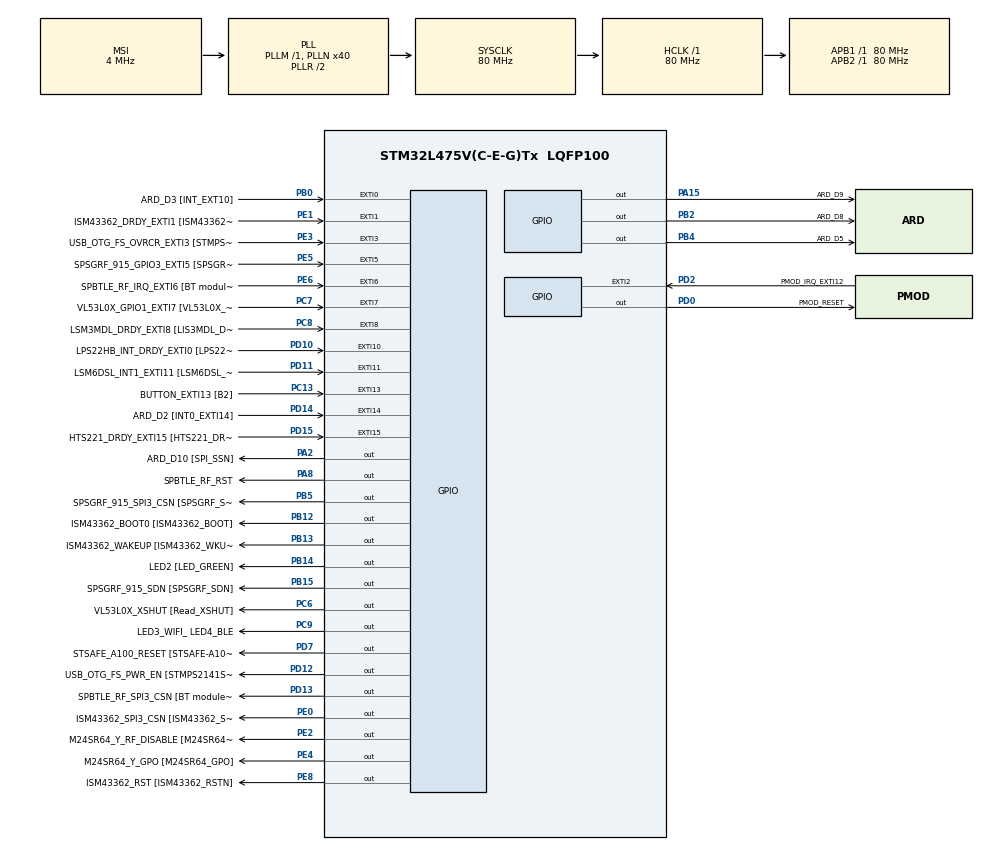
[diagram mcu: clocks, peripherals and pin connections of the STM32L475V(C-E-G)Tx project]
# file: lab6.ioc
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FREERTOS.Tasks01=ContinuousT1,0,128,ContinuousTFunc,Default,(void*)pcTextForThread1,Dynamic,NULL,NULL;ContinuousT2,0,128,ContinuousTFunc,Default,(void*)pcTextForThread2,Dynamic,NULL,NULL;PeriodT,1,128,PeriodTFunc,Default,(void *)pcTextForThread3,Dynamic,NULL,NULL
Mcu.Family=STM32L4
Mcu.Name=STM32L475V(C-E-G)Tx
Mcu.Package=LQFP100
Mcu.UserConstants=pcTextForThread1,"\\n\\rContinuous Thread1 is running\\n\\r";pcTextForThread2,"\\n\\rContinuous Thread2 is running\\n\\r";pcTextForThread3,"\\n\\rPeriod Thread is running\\n\\r";mainDELAY_LOOP_COUNT,0xffffff
NVIC.EXTI15_10_IRQn=true\:5\:0\:false\:false\:true\:true\:true\:true
NVIC.EXTI9_5_IRQn=true\:5\:0\:false\:false\:true\:true\:true\:true
NVIC.PriorityGroup=NVIC_PRIORITYGROUP_4
PA0.GPIO_Label=ARD_D1 [UART4_TX]
PA0.Signal=UART4_TX
PA1.GPIO_Label=ARD_D0 [UART4_RX]
PA1.Signal=UART4_RX
PA10.GPIO_Label=USB_OTG_FS_ID
PA10.Signal=USB_OTG_FS_ID
PA11.GPIO_Label=USB_OTG_FS_DM
PA11.Signal=USB_OTG_FS_DM
PA12.GPIO_Label=USB_OTG_FS_DP
PA12.Signal=USB_OTG_FS_DP
PA13\ (JTMS-SWDIO).GPIO_Label=SYS_JTMS_SWDIO
PA13\ (JTMS-SWDIO).Signal=SYS_JTMS-SWDIO
PA14\ (JTCK-SWCLK).GPIO_Label=SYS_JTCK_SWCLK
PA14\ (JTCK-SWCLK).Signal=SYS_JTCK-SWCLK
PA15\ (JTDI).GPIO_Label=ARD_D9
PA15\ (JTDI).Signal=GPIO_Output
PA2.GPIO_Label=ARD_D10 [SPI_SSN]
PA2.Signal=GPIO_Output
PA3.GPIO_Label=ARD_D4
PA3.Signal=S_TIM2_CH4
PA4.GPIO_Label=ARD_D7
PA4.Signal=ADCx_IN9
PA5.GPIO_Label=ARD_D13 [SPI1_SCK]
PA5.Signal=SPI1_SCK
PA6.GPIO_Label=ARD_D12 [SPI1_MISO]
PA6.Signal=SPI1_MISO
PA7.GPIO_Label=ARD_D11 [SPI1_MOSI]
PA7.Signal=SPI1_MOSI
PA8.GPIO_Label=SPBTLE_RF_RST
PA8.Signal=GPIO_Output
PA9.GPIO_Label=USB_OTG_FS_VBUS [STMPS2141STR_OUT]
PA9.Signal=USB_OTG_FS_VBUS
PB0.GPIO_Label=ARD_D3 [INT_EXT10]
PB0.Signal=GPXTI0
PB1.GPIO_Label=ARD_D6 [ADC1_IN6]
PB1.Signal=ADCx_IN16
PB10.GPIO_Label=INTERNAL_I2C2_SCL [VL53L0X_SCL]
PB10.Signal=I2C2_SCL
PB11.GPIO_Label=INTERNAL_I2C2_SDA [VL53L0X_SDA]
PB11.Signal=I2C2_SDA
PB12.GPIO_Label=ISM43362_BOOT0 [ISM43362_BOOT]
PB12.Signal=GPIO_Output
PB13.GPIO_Label=ISM43362_WAKEUP [ISM43362_WKUP]
PB13.Signal=GPIO_Output
PB14.GPIO_Label=LED2 [LED_GREEN]
PB14.Signal=GPIO_Output
PB15.GPIO_Label=SPSGRF_915_SDN [SPSGRF_SDN]
PB15.Signal=GPIO_Output
PB2.GPIO_Label=ARD_D8
PB2.Signal=GPIO_Output
PB3\ (JTDO-TRACESWO).GPIO_Label=SYS_JTD0_SWO
PB3\ (JTDO-TRACESWO).Signal=SYS_JTDO-SWO
PB4\ (NJTRST).GPIO_Label=ARD_D5
PB4\ (NJTRST).Signal=GPIO_Output
PB5.GPIO_Label=SPSGRF_915_SPI3_CSN [SPSGRF_SPI_CS]
PB5.PinState=GPIO_PIN_SET
PB5.Signal=GPIO_Output
PB6.GPIO_Label=ST_LINK_UART1_TX
PB6.Signal=USART1_TX
PB7.GPIO_Label=ST_LINK_UART1_RX
PB7.Signal=USART1_RX
PB8.GPIO_Label=ARD_D15 [I2C1_SCL]
PB8.Signal=I2C1_SCL
PB9.GPIO_Label=ARD_D14 [I2C1_SDA]
PB9.Signal=I2C1_SDA
PC0.GPIO_Label=ARD_A5 [ADC]
PC0.Signal=ADCx_IN1
PC1.GPIO_Label=ARD_A4 [ADC]
PC1.Signal=ADCx_IN2
PC10.GPIO_Label=INTERNAL_SPI3_SCK [BT module_SPI_SCLK] [ISM43362_SCK]
PC10.Signal=SPI3_SCK
PC11.GPIO_Label=INTERNAL_SPI3_MISO [BT module_SPI_MISO] [ISM43362_MISO]
PC11.Signal=SPI3_MISO
PC12.GPIO_Label=INTERNAL_SPI3_MOSI [BT module_SPI_MOSI] [ISM43362_MOSI]
PC12.Signal=SPI3_MOSI
PC13.GPIO_Label=BUTTON_EXTI13 [B2]
PC13.GPIO_ModeDefaultEXTI=GPIO_MODE_IT_FALLING
PC13.Signal=GPXTI13
PC14-OSC32_IN\ (PC14).Signal=RCC_OSC32_IN
PC15-OSC32_OUT\ (PC15).Signal=RCC_OSC32_OUT
PC2.GPIO_Label=ARD_A3 [ADC]
PC2.Signal=ADCx_IN3
PC3.GPIO_Label=ARD_A2 [ADC]
PC3.Signal=ADCx_IN4
PC4.GPIO_Label=ARD_A1 [ADC]
PC4.Signal=ADCx_IN13
PC5.GPIO_Label=ARD_A0 [ADC]
PC5.Signal=ADCx_IN14
PC6.GPIO_Label=VL53L0X_XSHUT [Read_XSHUT]
PC6.Signal=GPIO_Output
PC7.GPIO_Label=VL53L0X_GPIO1_EXTI7 [VL53L0X_GPIO1]
PC7.Signal=GPXTI7
PC8.GPIO_Label=LSM3MDL_DRDY_EXTI8 [LIS3MDL_DRDY]
PC8.Signal=GPXTI8
PC9.GPIO_Label=LED3_WIFI_ LED4_BLE
PC9.Signal=GPIO_Output
PD0.GPIO_Label=PMOD_RESET
PD0.Signal=GPIO_Output
PD1.GPIO_Label=PMOD_SPI2_SCK
PD1.Signal=SPI2_SCK
PD10.GPIO_Label=LPS22HB_INT_DRDY_EXTI0 [LPS22HB_INT_DRDY] 
PD10.Signal=GPXTI10
PD11.GPIO_Label=LSM6DSL_INT1_EXTI11 [LSM6DSL_INT1]
PD11.Signal=GPXTI11
PD12.GPIO_Label=USB_OTG_FS_PWR_EN [STMPS2141STR_EN]
PD12.Signal=GPIO_Output
PD13.GPIO_Label=SPBTLE_RF_SPI3_CSN [BT module_SPI_CS]
PD13.PinState=GPIO_PIN_SET
PD13.Signal=GPIO_Output
PD14.GPIO_Label=ARD_D2 [INT0_EXTI14]
PD14.Signal=GPXTI14
PD15.GPIO_Label=HTS221_DRDY_EXTI15 [HTS221_DRDY]
PD15.Signal=GPXTI15
PD2.GPIO_Label=PMOD_IRQ_EXTI12
PD2.Signal=GPXTI2
PD3.GPIO_Label=PMOD_UART2_CTS
PD3.Signal=USART2_CTS
PD4.GPIO_Label=PMOD_UART2_RTS
PD4.Signal=USART2_RTS
PD5.GPIO_Label=PMOD_UART2_TX
PD5.Signal=USART2_TX
PD6.GPIO_Label=PMOD_UART2_RX
PD6.Signal=USART2_RX
PD7.GPIO_Label=STSAFE_A100_RESET [STSAFE-A100_RESET]
PD7.Signal=GPIO_Output
PD8.GPIO_Label=INTERNAL_UART3_TX [ISM43362_RX]
PD8.Signal=USART3_TX
PD9.GPIO_Label=INTERNAL_UART3_RX [ISM43362_TX]
PD9.Signal=USART3_RX
PE0.GPIO_Label=ISM43362_SPI3_CSN [ISM43362_SSN]
PE0.PinState=GPIO_PIN_SET
PE0.Signal=GPIO_Output
PE1.GPIO_Label=ISM43362_DRDY_EXTI1 [ISM43362_DATARDY]
PE1.Signal=GPXTI1
PE10.GPIO_Label=QUADSPI_CLK [MX25R6435F_SCLK]
PE10.Signal=QUADSPI_CLK
PE11.GPIO_Label=QUADSPI_NCS [MX25R6435F_SCLK]
PE11.Signal=QUADSPI_NCS
PE12.GPIO_Label=OQUADSPI_BK1_IO0 [MX25R6435F_IO0]
PE12.Signal=QUADSPI_BK1_IO0
PE13.GPIO_Label=QUADSPI_BK1_IO1 [MX25R6435F_IO1]
PE13.Signal=QUADSPI_BK1_IO1
PE14.GPIO_Label=QUAD_SPI_BK1_IO2 [MX25R6435F_IO2]
PE14.Signal=QUADSPI_BK1_IO2
PE15.GPIO_Label=QUAD_SPI_BK1_IO3 [MX25R6435F_IO3]
PE15.Signal=QUADSPI_BK1_IO3
PE2.GPIO_Label=M24SR64_Y_RF_DISABLE [M24SR64_RFDIS]
PE2.Signal=GPIO_Output
PE3.GPIO_Label=USB_OTG_FS_OVRCR_EXTI3 [STMPS2141STR_FAULT]
PE3.Signal=GPXTI3
PE4.GPIO_Label=M24SR64_Y_GPO [M24SR64_GPO]
PE4.Signal=GPIO_Output
PE5.GPIO_Label=SPSGRF_915_GPIO3_EXTI5 [SPSGRF_GPIO_3]
PE5.Signal=GPXTI5
PE6.GPIO_Label=SPBTLE_RF_IRQ_EXTI6 [BT module_SPI_IRQ]
PE6.Signal=GPXTI6
PE7.GPIO_Label=DFSDM1_DATIN2 [MP34DT01_DOUT]
PE7.Signal=S_DATAIN2DFSDM1
PE8.GPIO_Label=ISM43362_RST [ISM43362_RSTN]
PE8.Signal=GPIO_Output
PE9.GPIO_Label=DFSDM1_CKOUT [MP34DT01_CLK]
PE9.Signal=S_CKOUTDFSDM1
ProjectManager.HeapSize=0x200
ProjectManager.StackSize=0x400
ProjectManager.TargetToolchain=MDK-ARM V5.27
RCC.ADCFreq_Value=48000000
RCC.AHBFreq_Value=80000000
RCC.APB1Freq_Value=80000000
RCC.APB1TimFreq_Value=80000000
RCC.APB2Freq_Value=80000000
RCC.APB2TimFreq_Value=80000000
RCC.CortexFreq_Value=80000000
RCC.HCLKFreq_Value=80000000
RCC.HSE_VALUE=8000000
RCC.HSI_VALUE=16000000
RCC.LSE_VALUE=32768
RCC.MSI_VALUE=4000000
RCC.PLLN=40
RCC.PLLSAI1N=24
RCC.SYSCLKFreq_VALUE=80000000
RCC.SYSCLKSource=RCC_SYSCLKSOURCE_PLLCLK
RCC.USBFreq_Value=48000000
RCC.VCOOutputFreq_Value=160000000
SH.ADCx_IN1.0=ADC1_IN1
SH.ADCx_IN13.0=ADC1_IN13
SH.ADCx_IN14.0=ADC1_IN14
SH.ADCx_IN16.0=ADC1_IN16
SH.ADCx_IN2.0=ADC1_IN2
SH.ADCx_IN3.0=ADC1_IN3
SH.ADCx_IN4.0=ADC1_IN4
SH.ADCx_IN9.0=ADC1_IN9
SH.S_CKOUTDFSDM1.0=DFSDM1_CKOUT
SH.S_DATAIN2DFSDM1.0=DFSDM1_DATIN2
SH.S_TIM2_CH4.0=TIM2_CH4
VP_FREERTOS_VS_CMSIS_V1.Mode=CMSIS_V1
board=B-L475E-IOT01A1

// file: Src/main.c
/* USER CODE BEGIN Header */
/**
  ******************************************************************************
  * @file           : main.c
  * @brief          : Main program body
  ******************************************************************************
  * @attention
  *
  * <h2><center>&copy; Copyright (c) 2020 STMicroelectronics.
  * All rights reserved.</center></h2>
  *
  * This software component is licensed by ST under Ultimate Liberty license
  * SLA0044, the "License"; You may not use this file except in compliance with
  * the License. You may obtain a copy of the License at:
  *                             www.st.com/SLA0044
  *
  ******************************************************************************
  */
/* USER CODE END Header */

#include "main.h"
#include "cmsis_os.h"

/* USER CODE BEGIN Includes */
#include "stdio.h"
/* USER CODE END Includes */

osThreadId ContinuousT1Handle;
osThreadId ContinuousT2Handle;
osThreadId PeriodTHandle;

void SystemClock_Config(void);
static void MX_GPIO_Init(void);
void ContinuousTFunc(void const * argument);
void PeriodTFunc(void const * argument);

/* USER CODE BEGIN PFP */
#ifdef __GNUC__
#define PUTCHAR_PROTOTYPE int __io_putchar(int ch)
#else
#define PUTCHAR_PROTOTYPE int fputc(int ch, FILE *f)
#endif /* __GNUC__ */
/* USER CODE END PFP */

/* USER CODE BEGIN 0 */
PUTCHAR_PROTOTYPE
{
  /* e.g. write a character to the USART1 and Loop until the end of transmission */
  HAL_UART_Transmit(&huart1, (uint8_t *)&ch, 1, 0xFFFF);

  return ch;
}
/* USER CODE END 0 */

int main(void)
{

  /* MCU Configuration--------------------------------------------------------*/

  /* Reset of all peripherals, Initializes the Flash interface and the Systick. */
  HAL_Init();

  /* Configure the system clock */
  SystemClock_Config();

  /* Initialize all configured peripherals */
  MX_GPIO_Init();
  /* USER CODE BEGIN 2 */
	printf("\n\rFreeRTOS Lab 6\n\r");
  /* USER CODE END 2 */

  /* Create the thread(s) */
  /* definition and creation of ContinuousT1 */
  osThreadDef(ContinuousT1, ContinuousTFunc, osPriorityNormal, 0, 128);
  ContinuousT1Handle = osThreadCreate(osThread(ContinuousT1), (void*)pcTextForThread1);

  /* definition and creation of ContinuousT2 */
  osThreadDef(ContinuousT2, ContinuousTFunc, osPriorityNormal, 0, 128);
  ContinuousT2Handle = osThreadCreate(osThread(ContinuousT2), (void*)pcTextForThread2);

  /* definition and creation of PeriodT */
  osThreadDef(PeriodT, PeriodTFunc, osPriorityAboveNormal, 0, 128);
  PeriodTHandle = osThreadCreate(osThread(PeriodT), (void *)pcTextForThread3);

  /* Start scheduler */
  osKernelStart();

  /* We should never get here as control is now taken by the scheduler */

  /* Infinite loop */
  while (1)
  {

  }
}

void SystemClock_Config(void)
{
  RCC_OscInitTypeDef RCC_OscInitStruct = {0};
  RCC_ClkInitTypeDef RCC_ClkInitStruct = {0};

  /** Initializes the CPU, AHB and APB busses clocks
  */
  RCC_OscInitStruct.OscillatorType = RCC_OSCILLATORTYPE_MSI;
  RCC_OscInitStruct.MSIState = RCC_MSI_ON;
  RCC_OscInitStruct.MSICalibrationValue = 0;
  RCC_OscInitStruct.MSIClockRange = RCC_MSIRANGE_6;
  RCC_OscInitStruct.PLL.PLLState = RCC_PLL_ON;
  RCC_OscInitStruct.PLL.PLLSource = RCC_PLLSOURCE_MSI;
  RCC_OscInitStruct.PLL.PLLM = 1;
  RCC_OscInitStruct.PLL.PLLN = 40;
  RCC_OscInitStruct.PLL.PLLP = RCC_PLLP_DIV7;
  RCC_OscInitStruct.PLL.PLLQ = RCC_PLLQ_DIV2;
  RCC_OscInitStruct.PLL.PLLR = RCC_PLLR_DIV2;
  if (HAL_RCC_OscConfig(&RCC_OscInitStruct) != HAL_OK)
  {
    Error_Handler();
  }
  /** Initializes the CPU, AHB and APB busses clocks
  */
  RCC_ClkInitStruct.ClockType = RCC_CLOCKTYPE_HCLK|RCC_CLOCKTYPE_SYSCLK
                              |RCC_CLOCKTYPE_PCLK1|RCC_CLOCKTYPE_PCLK2;
  RCC_ClkInitStruct.SYSCLKSource = RCC_SYSCLKSOURCE_PLLCLK;
  RCC_ClkInitStruct.AHBCLKDivider = RCC_SYSCLK_DIV1;
  RCC_ClkInitStruct.APB1CLKDivider = RCC_HCLK_DIV1;
  RCC_ClkInitStruct.APB2CLKDivider = RCC_HCLK_DIV1;

  if (HAL_RCC_ClockConfig(&RCC_ClkInitStruct, FLASH_LATENCY_4) != HAL_OK)
  {
    Error_Handler();
  }
  /** Configure the main internal regulator output voltage
  */
  if (HAL_PWREx_ControlVoltageScaling(PWR_REGULATOR_VOLTAGE_SCALE1) != HAL_OK)
  {
    Error_Handler();
  }
}

static void MX_GPIO_Init(void)
{
  GPIO_InitTypeDef GPIO_InitStruct = {0};

  /* GPIO Ports Clock Enable */
  __HAL_RCC_GPIOE_CLK_ENABLE();
  __HAL_RCC_GPIOC_CLK_ENABLE();
  __HAL_RCC_GPIOH_CLK_ENABLE();
  __HAL_RCC_GPIOA_CLK_ENABLE();
  __HAL_RCC_GPIOB_CLK_ENABLE();
  __HAL_RCC_GPIOD_CLK_ENABLE();

  /*Configure GPIO pin Output Level */
  HAL_GPIO_WritePin(GPIOE, M24SR64_Y_RF_DISABLE_Pin|M24SR64_Y_GPO_Pin|ISM43362_RST_Pin, GPIO_PIN_RESET);

  /*Configure GPIO pin Output Level */
  HAL_GPIO_WritePin(GPIOA, ARD_D10_Pin|SPBTLE_RF_RST_Pin|ARD_D9_Pin, GPIO_PIN_RESET);

  /*Configure GPIO pin Output Level */
  HAL_GPIO_WritePin(GPIOB, ARD_D8_Pin|ISM43362_BOOT0_Pin|ISM43362_WAKEUP_Pin|LED2_Pin
                          |SPSGRF_915_SDN_Pin|ARD_D5_Pin, GPIO_PIN_RESET);

  /*Configure GPIO pin Output Level */
  HAL_GPIO_WritePin(GPIOD, USB_OTG_FS_PWR_EN_Pin|PMOD_RESET_Pin|STSAFE_A100_RESET_Pin, GPIO_PIN_RESET);

  /*Configure GPIO pin Output Level */
  HAL_GPIO_WritePin(SPBTLE_RF_SPI3_CSN_GPIO_Port, SPBTLE_RF_SPI3_CSN_Pin, GPIO_PIN_SET);

  /*Configure GPIO pin Output Level */
  HAL_GPIO_WritePin(GPIOC, VL53L0X_XSHUT_Pin|LED3_WIFI__LED4_BLE_Pin, GPIO_PIN_RESET);

  /*Configure GPIO pin Output Level */
  HAL_GPIO_WritePin(SPSGRF_915_SPI3_CSN_GPIO_Port, SPSGRF_915_SPI3_CSN_Pin, GPIO_PIN_SET);

  /*Configure GPIO pin Output Level */
  HAL_GPIO_WritePin(ISM43362_SPI3_CSN_GPIO_Port, ISM43362_SPI3_CSN_Pin, GPIO_PIN_SET);

  /*Configure GPIO pins : M24SR64_Y_RF_DISABLE_Pin M24SR64_Y_GPO_Pin ISM43362_RST_Pin ISM43362_SPI3_CSN_Pin */
  GPIO_InitStruct.Pin = M24SR64_Y_RF_DISABLE_Pin|M24SR64_Y_GPO_Pin|ISM43362_RST_Pin|ISM43362_SPI3_CSN_Pin;
  GPIO_InitStruct.Mode = GPIO_MODE_OUTPUT_PP;
  GPIO_InitStruct.Pull = GPIO_NOPULL;
  GPIO_InitStruct.Speed = GPIO_SPEED_FREQ_LOW;
  HAL_GPIO_Init(GPIOE, &GPIO_InitStruct);

  /*Configure GPIO pins : USB_OTG_FS_OVRCR_EXTI3_Pin SPSGRF_915_GPIO3_EXTI5_Pin SPBTLE_RF_IRQ_EXTI6_Pin ISM43362_DRDY_EXTI1_Pin */
  GPIO_InitStruct.Pin = USB_OTG_FS_OVRCR_EXTI3_Pin|SPSGRF_915_GPIO3_EXTI5_Pin|SPBTLE_RF_IRQ_EXTI6_Pin|ISM43362_DRDY_EXTI1_Pin;
  GPIO_InitStruct.Mode = GPIO_MODE_IT_RISING;
  GPIO_InitStruct.Pull = GPIO_NOPULL;
  HAL_GPIO_Init(GPIOE, &GPIO_InitStruct);

  /*Configure GPIO pin : BUTTON_EXTI13_Pin */
  GPIO_InitStruct.Pin = BUTTON_EXTI13_Pin;
  GPIO_InitStruct.Mode = GPIO_MODE_IT_FALLING;
  GPIO_InitStruct.Pull = GPIO_NOPULL;
  HAL_GPIO_Init(BUTTON_EXTI13_GPIO_Port, &GPIO_InitStruct);

  /*Configure GPIO pins : PH0 PH1 */
  GPIO_InitStruct.Pin = GPIO_PIN_0|GPIO_PIN_1;
  GPIO_InitStruct.Mode = GPIO_MODE_ANALOG;
  GPIO_InitStruct.Pull = GPIO_NOPULL;
  HAL_GPIO_Init(GPIOH, &GPIO_InitStruct);

  /*Configure GPIO pins : ARD_A5_Pin ARD_A4_Pin ARD_A3_Pin ARD_A2_Pin
                           ARD_A1_Pin ARD_A0_Pin */
  GPIO_InitStruct.Pin = ARD_A5_Pin|ARD_A4_Pin|ARD_A3_Pin|ARD_A2_Pin
                          |ARD_A1_Pin|ARD_A0_Pin;
  GPIO_InitStruct.Mode = GPIO_MODE_ANALOG_ADC_CONTROL;
  GPIO_InitStruct.Pull = GPIO_NOPULL;
  HAL_GPIO_Init(GPIOC, &GPIO_InitStruct);

  /*Configure GPIO pins : ARD_D1_Pin ARD_D0_Pin */
  GPIO_InitStruct.Pin = ARD_D1_Pin|ARD_D0_Pin;
  GPIO_InitStruct.Mode = GPIO_MODE_AF_PP;
  GPIO_InitStruct.Pull = GPIO_NOPULL;
  GPIO_InitStruct.Speed = GPIO_SPEED_FREQ_VERY_HIGH;
  GPIO_InitStruct.Alternate = GPIO_AF8_UART4;
  HAL_GPIO_Init(GPIOA, &GPIO_InitStruct);

  /*Configure GPIO pins : ARD_D10_Pin SPBTLE_RF_RST_Pin ARD_D9_Pin */
  GPIO_InitStruct.Pin = ARD_D10_Pin|SPBTLE_RF_RST_Pin|ARD_D9_Pin;
  GPIO_InitStruct.Mode = GPIO_MODE_OUTPUT_PP;
  GPIO_InitStruct.Pull = GPIO_NOPULL;
  GPIO_InitStruct.Speed = GPIO_SPEED_FREQ_LOW;
  HAL_GPIO_Init(GPIOA, &GPIO_InitStruct);

  /*Configure GPIO pin : ARD_D4_Pin */
  GPIO_InitStruct.Pin = ARD_D4_Pin;
  GPIO_InitStruct.Mode = GPIO_MODE_AF_PP;
  GPIO_InitStruct.Pull = GPIO_NOPULL;
  GPIO_InitStruct.Speed = GPIO_SPEED_FREQ_LOW;
  GPIO_InitStruct.Alternate = GPIO_AF1_TIM2;
  HAL_GPIO_Init(ARD_D4_GPIO_Port, &GPIO_InitStruct);

  /*Configure GPIO pin : ARD_D7_Pin */
  GPIO_InitStruct.Pin = ARD_D7_Pin;
  GPIO_InitStruct.Mode = GPIO_MODE_ANALOG_ADC_CONTROL;
  GPIO_InitStruct.Pull = GPIO_NOPULL;
  HAL_GPIO_Init(ARD_D7_GPIO_Port, &GPIO_InitStruct);

  /*Configure GPIO pins : ARD_D13_Pin ARD_D12_Pin ARD_D11_Pin */
  GPIO_InitStruct.Pin = ARD_D13_Pin|ARD_D12_Pin|ARD_D11_Pin;
  GPIO_InitStruct.Mode = GPIO_MODE_AF_PP;
  GPIO_InitStruct.Pull = GPIO_NOPULL;
  GPIO_InitStruct.Speed = GPIO_SPEED_FREQ_VERY_HIGH;
  GPIO_InitStruct.Alternate = GPIO_AF5_SPI1;
  HAL_GPIO_Init(GPIOA, &GPIO_InitStruct);

  /*Configure GPIO pin : ARD_D3_Pin */
  GPIO_InitStruct.Pin = ARD_D3_Pin;
  GPIO_InitStruct.Mode = GPIO_MODE_IT_RISING;
  GPIO_InitStruct.Pull = GPIO_NOPULL;
  HAL_GPIO_Init(ARD_D3_GPIO_Port, &GPIO_InitStruct);

  /*Configure GPIO pin : ARD_D6_Pin */
  GPIO_InitStruct.Pin = ARD_D6_Pin;
  GPIO_InitStruct.Mode = GPIO_MODE_ANALOG_ADC_CONTROL;
  GPIO_InitStruct.Pull = GPIO_NOPULL;
  HAL_GPIO_Init(ARD_D6_GPIO_Port, &GPIO_InitStruct);

  /*Configure GPIO pins : ARD_D8_Pin ISM43362_BOOT0_Pin ISM43362_WAKEUP_Pin LED2_Pin
                           SPSGRF_915_SDN_Pin ARD_D5_Pin SPSGRF_915_SPI3_CSN_Pin */
  GPIO_InitStruct.Pin = ARD_D8_Pin|ISM43362_BOOT0_Pin|ISM43362_WAKEUP_Pin|LED2_Pin
                          |SPSGRF_915_SDN_Pin|ARD_D5_Pin|SPSGRF_915_SPI3_CSN_Pin;
  GPIO_InitStruct.Mode = GPIO_MODE_OUTPUT_PP;
  GPIO_InitStruct.Pull = GPIO_NOPULL;
  GPIO_InitStruct.Speed = GPIO_SPEED_FREQ_LOW;
  HAL_GPIO_Init(GPIOB, &GPIO_InitStruct);

  /*Configure GPIO pins : DFSDM1_DATIN2_Pin DFSDM1_CKOUT_Pin */
  GPIO_InitStruct.Pin = DFSDM1_DATIN2_Pin|DFSDM1_CKOUT_Pin;
  GPIO_InitStruct.Mode = GPIO_MODE_AF_PP;
  GPIO_InitStruct.Pull = GPIO_NOPULL;
  GPIO_InitStruct.Speed = GPIO_SPEED_FREQ_LOW;
  GPIO_InitStruct.Alternate = GPIO_AF6_DFSDM1;
  HAL_GPIO_Init(GPIOE, &GPIO_InitStruct);

  /*Configure GPIO pins : QUADSPI_CLK_Pin QUADSPI_NCS_Pin OQUADSPI_BK1_IO0_Pin QUADSPI_BK1_IO1_Pin
                           QUAD_SPI_BK1_IO2_Pin QUAD_SPI_BK1_IO3_Pin */
  GPIO_InitStruct.Pin = QUADSPI_CLK_Pin|QUADSPI_NCS_Pin|OQUADSPI_BK1_IO0_Pin|QUADSPI_BK1_IO1_Pin
                          |QUAD_SPI_BK1_IO2_Pin|QUAD_SPI_BK1_IO3_Pin;
  GPIO_InitStruct.Mode = GPIO_MODE_AF_PP;
  GPIO_InitStruct.Pull = GPIO_NOPULL;
  GPIO_InitStruct.Speed = GPIO_SPEED_FREQ_VERY_HIGH;
  GPIO_InitStruct.Alternate = GPIO_AF10_QUADSPI;
  HAL_GPIO_Init(GPIOE, &GPIO_InitStruct);

  /*Configure GPIO pins : INTERNAL_I2C2_SCL_Pin INTERNAL_I2C2_SDA_Pin */
  GPIO_InitStruct.Pin = INTERNAL_I2C2_SCL_Pin|INTERNAL_I2C2_SDA_Pin;
  GPIO_InitStruct.Mode = GPIO_MODE_AF_OD;
  GPIO_InitStruct.Pull = GPIO_PULLUP;
  GPIO_InitStruct.Speed = GPIO_SPEED_FREQ_VERY_HIGH;
  GPIO_InitStruct.Alternate = GPIO_AF4_I2C2;
  HAL_GPIO_Init(GPIOB, &GPIO_InitStruct);

  /*Configure GPIO pins : INTERNAL_UART3_TX_Pin INTERNAL_UART3_RX_Pin */
  GPIO_InitStruct.Pin = INTERNAL_UART3_TX_Pin|INTERNAL_UART3_RX_Pin;
  GPIO_InitStruct.Mode = GPIO_MODE_AF_PP;
  GPIO_InitStruct.Pull = GPIO_NOPULL;
  GPIO_InitStruct.Speed = GPIO_SPEED_FREQ_VERY_HIGH;
  GPIO_InitStruct.Alternate = GPIO_AF7_USART3;
  HAL_GPIO_Init(GPIOD, &GPIO_InitStruct);

  /*Configure GPIO pins : LPS22HB_INT_DRDY_EXTI0_Pin LSM6DSL_INT1_EXTI11_Pin ARD_D2_Pin HTS221_DRDY_EXTI15_Pin
                           PMOD_IRQ_EXTI12_Pin */
  GPIO_InitStruct.Pin = LPS22HB_INT_DRDY_EXTI0_Pin|LSM6DSL_INT1_EXTI11_Pin|ARD_D2_Pin|HTS221_DRDY_EXTI15_Pin
                          |PMOD_IRQ_EXTI12_Pin;
  GPIO_InitStruct.Mode = GPIO_MODE_IT_RISING;
  GPIO_InitStruct.Pull = GPIO_NOPULL;
  HAL_GPIO_Init(GPIOD, &GPIO_InitStruct);

  /*Configure GPIO pins : USB_OTG_FS_PWR_EN_Pin SPBTLE_RF_SPI3_CSN_Pin PMOD_RESET_Pin STSAFE_A100_RESET_Pin */
  GPIO_InitStruct.Pin = USB_OTG_FS_PWR_EN_Pin|SPBTLE_RF_SPI3_CSN_Pin|PMOD_RESET_Pin|STSAFE_A100_RESET_Pin;
  GPIO_InitStruct.Mode = GPIO_MODE_OUTPUT_PP;
  GPIO_InitStruct.Pull = GPIO_NOPULL;
  GPIO_InitStruct.Speed = GPIO_SPEED_FREQ_LOW;
  HAL_GPIO_Init(GPIOD, &GPIO_InitStruct);

  /*Configure GPIO pins : VL53L0X_XSHUT_Pin LED3_WIFI__LED4_BLE_Pin */
  GPIO_InitStruct.Pin = VL53L0X_XSHUT_Pin|LED3_WIFI__LED4_BLE_Pin;
  GPIO_InitStruct.Mode = GPIO_MODE_OUTPUT_PP;
  GPIO_InitStruct.Pull = GPIO_NOPULL;
  GPIO_InitStruct.Speed = GPIO_SPEED_FREQ_LOW;
  HAL_GPIO_Init(GPIOC, &GPIO_InitStruct);

  /*Configure GPIO pins : VL53L0X_GPIO1_EXTI7_Pin LSM3MDL_DRDY_EXTI8_Pin */
  GPIO_InitStruct.Pin = VL53L0X_GPIO1_EXTI7_Pin|LSM3MDL_DRDY_EXTI8_Pin;
  GPIO_InitStruct.Mode = GPIO_MODE_IT_RISING;
  GPIO_InitStruct.Pull = GPIO_NOPULL;
  HAL_GPIO_Init(GPIOC, &GPIO_InitStruct);

  /*Configure GPIO pin : USB_OTG_FS_VBUS_Pin */
  GPIO_InitStruct.Pin = USB_OTG_FS_VBUS_Pin;
  GPIO_InitStruct.Mode = GPIO_MODE_INPUT;
  GPIO_InitStruct.Pull = GPIO_NOPULL;
  HAL_GPIO_Init(USB_OTG_FS_VBUS_GPIO_Port, &GPIO_InitStruct);

  /*Configure GPIO pins : USB_OTG_FS_ID_Pin USB_OTG_FS_DM_Pin USB_OTG_FS_DP_Pin */
  GPIO_InitStruct.Pin = USB_OTG_FS_ID_Pin|USB_OTG_FS_DM_Pin|USB_OTG_FS_DP_Pin;
  GPIO_InitStruct.Mode = GPIO_MODE_AF_PP;
  GPIO_InitStruct.Pull = GPIO_NOPULL;
  GPIO_InitStruct.Speed = GPIO_SPEED_FREQ_VERY_HIGH;
  GPIO_InitStruct.Alternate = GPIO_AF10_OTG_FS;
  HAL_GPIO_Init(GPIOA, &GPIO_InitStruct);

  /*Configure GPIO pins : INTERNAL_SPI3_SCK_Pin INTERNAL_SPI3_MISO_Pin INTERNAL_SPI3_MOSI_Pin */
  GPIO_InitStruct.Pin = INTERNAL_SPI3_SCK_Pin|INTERNAL_SPI3_MISO_Pin|INTERNAL_SPI3_MOSI_Pin;
  GPIO_InitStruct.Mode = GPIO_MODE_AF_PP;
  GPIO_InitStruct.Pull = GPIO_NOPULL;
  GPIO_InitStruct.Speed = GPIO_SPEED_FREQ_VERY_HIGH;
  GPIO_InitStruct.Alternate = GPIO_AF6_SPI3;
  HAL_GPIO_Init(GPIOC, &GPIO_InitStruct);

  /*Configure GPIO pin : PMOD_SPI2_SCK_Pin */
  GPIO_InitStruct.Pin = PMOD_SPI2_SCK_Pin;
  GPIO_InitStruct.Mode = GPIO_MODE_AF_PP;
  GPIO_InitStruct.Pull = GPIO_NOPULL;
  GPIO_InitStruct.Speed = GPIO_SPEED_FREQ_VERY_HIGH;
  GPIO_InitStruct.Alternate = GPIO_AF5_SPI2;
  HAL_GPIO_Init(PMOD_SPI2_SCK_GPIO_Port, &GPIO_InitStruct);

  /*Configure GPIO pins : PMOD_UART2_CTS_Pin PMOD_UART2_RTS_Pin PMOD_UART2_TX_Pin PMOD_UART2_RX_Pin */
  GPIO_InitStruct.Pin = PMOD_UART2_CTS_Pin|PMOD_UART2_RTS_Pin|PMOD_UART2_TX_Pin|PMOD_UART2_RX_Pin;
  GPIO_InitStruct.Mode = GPIO_MODE_AF_PP;
  GPIO_InitStruct.Pull = GPIO_NOPULL;
  GPIO_InitStruct.Speed = GPIO_SPEED_FREQ_VERY_HIGH;
  GPIO_InitStruct.Alternate = GPIO_AF7_USART2;
  HAL_GPIO_Init(GPIOD, &GPIO_InitStruct);

  /*Configure GPIO pins : ST_LINK_UART1_TX_Pin ST_LINK_UART1_RX_Pin */
  GPIO_InitStruct.Pin = ST_LINK_UART1_TX_Pin|ST_LINK_UART1_RX_Pin;
  GPIO_InitStruct.Mode = GPIO_MODE_AF_PP;
  GPIO_InitStruct.Pull = GPIO_NOPULL;
  GPIO_InitStruct.Speed = GPIO_SPEED_FREQ_VERY_HIGH;
  GPIO_InitStruct.Alternate = GPIO_AF7_USART1;
  HAL_GPIO_Init(GPIOB, &GPIO_InitStruct);

  /*Configure GPIO pins : ARD_D15_Pin ARD_D14_Pin */
  GPIO_InitStruct.Pin = ARD_D15_Pin|ARD_D14_Pin;
  GPIO_InitStruct.Mode = GPIO_MODE_AF_OD;
  GPIO_InitStruct.Pull = GPIO_PULLUP;
  GPIO_InitStruct.Speed = GPIO_SPEED_FREQ_VERY_HIGH;
  GPIO_InitStruct.Alternate = GPIO_AF4_I2C1;
  HAL_GPIO_Init(GPIOB, &GPIO_InitStruct);

  /* EXTI interrupt init*/
  HAL_NVIC_SetPriority(EXTI9_5_IRQn, 5, 0);
  HAL_NVIC_EnableIRQ(EXTI9_5_IRQn);

  HAL_NVIC_SetPriority(EXTI15_10_IRQn, 5, 0);
  HAL_NVIC_EnableIRQ(EXTI15_10_IRQn);

}

void ContinuousTFunc(void const * argument)
{
  /* USER CODE BEGIN 5 */
	volatile unsigned long ul;
  /* Infinite loop */
  for(;;)
  {
    printf("%s", (char *)argument);
		for ( ul = 0; ul < mainDELAY_LOOP_COUNT; ul++)
		{
		}
  }
  /* USER CODE END 5 */
}

void PeriodTFunc(void const * argument)
{
  /* USER CODE BEGIN PeriodTFunc */
	uint32_t PreviousWakeTime;
	PreviousWakeTime = osKernelSysTick();
  /* Infinite loop */
  for(;;)
  {
    printf("%s", (char *)argument);
		osDelayUntil(&PreviousWakeTime, 1000);
  }
  /* USER CODE END PeriodTFunc */
}

void Error_Handler(void)
{
}

/************************ (C) COPYRIGHT STMicroelectronics *****END OF FILE****/
